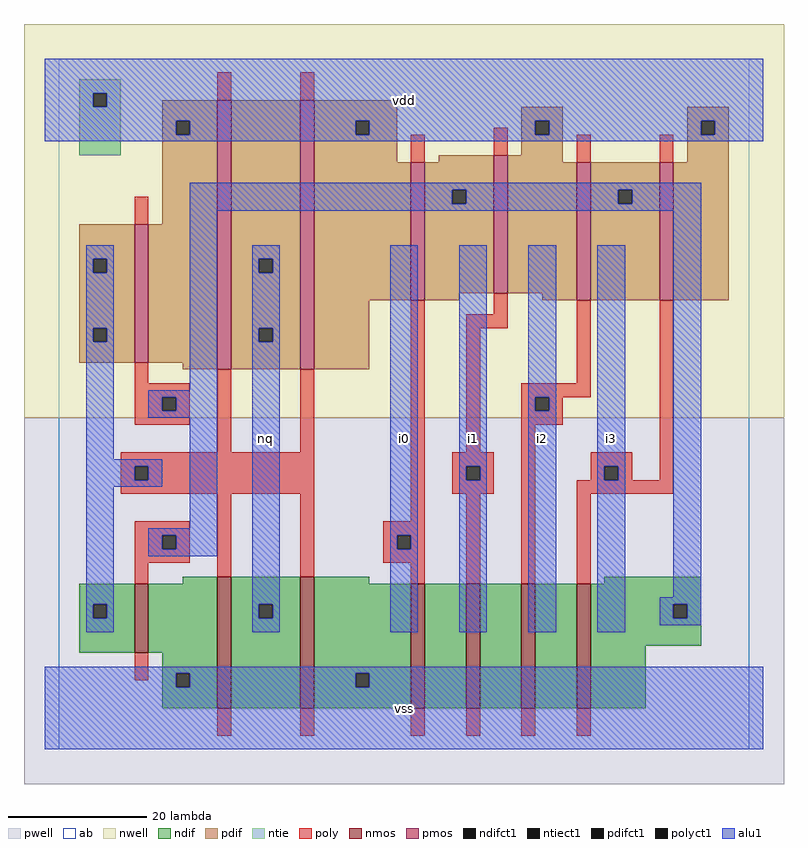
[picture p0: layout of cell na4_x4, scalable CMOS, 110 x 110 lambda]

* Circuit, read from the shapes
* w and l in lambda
.subckt na4_x4 i0 i1 i2 i3 nq vdd vss
M1 vss n1 n2 VSUBS nfet w=10 l=2
M2 nq n2 vss VSUBS nfet w=19 l=2 m=2
M3 n3 i0 vss VSUBS nfet w=18 l=2
M4 n4 i1 n3 VSUBS nfet w=18 l=2
M5 n5 i2 n4 VSUBS nfet w=18 l=2
M6 n1 i3 n5 VSUBS nfet w=18 l=2
M7 vdd n1 n2 vdd pfet w=20 l=2
M8 nq n2 vdd vdd pfet w=39 l=2 m=2
M9 n1 i0 vdd vdd pfet w=20 l=2
M10 vdd i1 n1 vdd pfet w=20 l=2
M11 n1 i2 vdd vdd pfet w=20 l=2
M12 vdd i3 n1 vdd pfet w=20 l=2
.ends

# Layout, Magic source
magic
tech scmos
<< ab >>
rect 0 0 100 100
<< nwell >>
rect -5 48 105 105
<< pwell >>
rect -5 -5 105 48
<< poly >>
rect 23 94 25 98
rect 35 94 37 98
rect 11 76 13 80
rect 11 53 13 56
rect 51 85 53 89
rect 63 86 65 90
rect 75 85 77 89
rect 87 85 89 89
rect 11 51 19 53
rect 11 49 15 51
rect 17 49 19 51
rect 11 47 19 49
rect 23 43 25 55
rect 35 43 37 55
rect 9 41 37 43
rect 9 39 11 41
rect 13 39 37 41
rect 9 37 37 39
rect 11 31 19 33
rect 11 29 15 31
rect 17 29 19 31
rect 11 27 19 29
rect 11 24 13 27
rect 23 25 25 37
rect 35 25 37 37
rect 51 33 53 65
rect 63 63 65 66
rect 59 61 65 63
rect 59 43 61 61
rect 75 53 77 65
rect 67 51 77 53
rect 67 49 69 51
rect 71 49 73 51
rect 67 47 73 49
rect 57 41 63 43
rect 57 39 59 41
rect 61 39 63 41
rect 57 37 63 39
rect 47 31 53 33
rect 47 29 49 31
rect 51 29 53 31
rect 47 27 53 29
rect 11 10 13 14
rect 51 24 53 27
rect 59 24 61 37
rect 67 24 69 47
rect 77 41 83 43
rect 77 39 79 41
rect 81 39 83 41
rect 87 39 89 65
rect 75 37 89 39
rect 75 24 77 37
rect 23 2 25 6
rect 35 2 37 6
rect 51 2 53 6
rect 59 2 61 6
rect 67 2 69 6
rect 75 2 77 6
<< ndif >>
rect 18 24 23 25
rect 3 21 11 24
rect 3 19 5 21
rect 7 19 11 21
rect 3 14 11 19
rect 13 14 23 24
rect 15 11 23 14
rect 15 9 17 11
rect 19 9 23 11
rect 15 6 23 9
rect 25 21 35 25
rect 25 19 29 21
rect 31 19 35 21
rect 25 6 35 19
rect 37 24 45 25
rect 79 24 93 25
rect 37 11 51 24
rect 37 9 43 11
rect 45 9 51 11
rect 37 6 51 9
rect 53 6 59 24
rect 61 6 67 24
rect 69 6 75 24
rect 77 21 93 24
rect 77 19 89 21
rect 91 19 93 21
rect 77 15 93 19
rect 77 6 85 15
<< pdif >>
rect 15 91 23 94
rect 15 89 17 91
rect 19 89 23 91
rect 15 76 23 89
rect 3 71 11 76
rect 3 69 5 71
rect 7 69 11 71
rect 3 61 11 69
rect 3 59 5 61
rect 7 59 11 61
rect 3 56 11 59
rect 13 56 23 76
rect 18 55 23 56
rect 25 71 35 94
rect 25 69 29 71
rect 31 69 35 71
rect 25 61 35 69
rect 25 59 29 61
rect 31 59 35 61
rect 25 55 35 59
rect 37 91 49 94
rect 37 89 43 91
rect 45 89 49 91
rect 67 91 73 93
rect 37 85 49 89
rect 67 89 69 91
rect 71 89 73 91
rect 91 91 97 93
rect 91 89 93 91
rect 95 89 97 91
rect 67 86 73 89
rect 55 85 63 86
rect 37 65 51 85
rect 53 81 63 85
rect 53 79 57 81
rect 59 79 63 81
rect 53 66 63 79
rect 65 85 73 86
rect 91 85 97 89
rect 65 66 75 85
rect 53 65 58 66
rect 37 55 45 65
rect 70 65 75 66
rect 77 81 87 85
rect 77 79 81 81
rect 83 79 87 81
rect 77 65 87 79
rect 89 65 97 85
<< alu1 >>
rect -2 95 102 100
rect -2 93 5 95
rect 7 93 102 95
rect -2 91 102 93
rect -2 89 17 91
rect 19 89 43 91
rect 45 89 69 91
rect 71 89 93 91
rect 95 89 102 91
rect -2 88 102 89
rect 19 81 93 82
rect 19 79 57 81
rect 59 79 81 81
rect 83 79 93 81
rect 19 78 93 79
rect 4 71 8 73
rect 4 69 5 71
rect 7 69 8 71
rect 4 61 8 69
rect 4 59 5 61
rect 7 59 8 61
rect 4 42 8 59
rect 19 52 23 78
rect 13 51 23 52
rect 13 49 15 51
rect 17 49 23 51
rect 13 48 23 49
rect 4 41 15 42
rect 4 39 11 41
rect 13 39 15 41
rect 4 38 15 39
rect 4 21 8 38
rect 19 32 23 48
rect 13 31 23 32
rect 13 29 15 31
rect 17 29 23 31
rect 13 28 23 29
rect 28 71 32 73
rect 28 69 29 71
rect 31 69 32 71
rect 28 61 32 69
rect 28 59 29 61
rect 31 59 32 61
rect 4 19 5 21
rect 7 19 8 21
rect 4 17 8 19
rect 28 21 32 59
rect 28 19 29 21
rect 31 19 32 21
rect 28 17 32 19
rect 48 31 52 73
rect 48 29 49 31
rect 51 29 52 31
rect 48 17 52 29
rect 58 41 62 73
rect 58 39 59 41
rect 61 39 62 41
rect 58 17 62 39
rect 68 51 72 73
rect 68 49 69 51
rect 71 49 72 51
rect 68 17 72 49
rect 78 41 82 73
rect 78 39 79 41
rect 81 39 82 41
rect 78 17 82 39
rect 89 22 93 78
rect 87 21 93 22
rect 87 19 89 21
rect 91 19 93 21
rect 87 18 93 19
rect -2 11 102 12
rect -2 9 17 11
rect 19 9 43 11
rect 45 9 102 11
rect -2 0 102 9
<< ntie >>
rect 3 95 9 97
rect 3 93 5 95
rect 7 93 9 95
rect 3 86 9 93
<< nmos >>
rect 11 14 13 24
rect 23 6 25 25
rect 35 6 37 25
rect 51 6 53 24
rect 59 6 61 24
rect 67 6 69 24
rect 75 6 77 24
<< pmos >>
rect 11 56 13 76
rect 23 55 25 94
rect 35 55 37 94
rect 51 65 53 85
rect 63 66 65 86
rect 75 65 77 85
rect 87 65 89 85
<< polyct1 >>
rect 15 49 17 51
rect 11 39 13 41
rect 15 29 17 31
rect 69 49 71 51
rect 59 39 61 41
rect 49 29 51 31
rect 79 39 81 41
<< ndifct1 >>
rect 5 19 7 21
rect 17 9 19 11
rect 29 19 31 21
rect 43 9 45 11
rect 89 19 91 21
<< ntiect1 >>
rect 5 93 7 95
<< pdifct1 >>
rect 17 89 19 91
rect 5 69 7 71
rect 5 59 7 61
rect 29 69 31 71
rect 29 59 31 61
rect 43 89 45 91
rect 69 89 71 91
rect 93 89 95 91
rect 57 79 59 81
rect 81 79 83 81
<< labels >>
rlabel alu1 30 45 30 45 6 nq
rlabel alu1 50 6 50 6 6 vss
rlabel alu1 50 45 50 45 6 i0
rlabel alu1 70 45 70 45 6 i2
rlabel alu1 60 45 60 45 6 i1
rlabel alu1 50 94 50 94 6 vdd
rlabel alu1 80 45 80 45 6 i3
<< end >>
